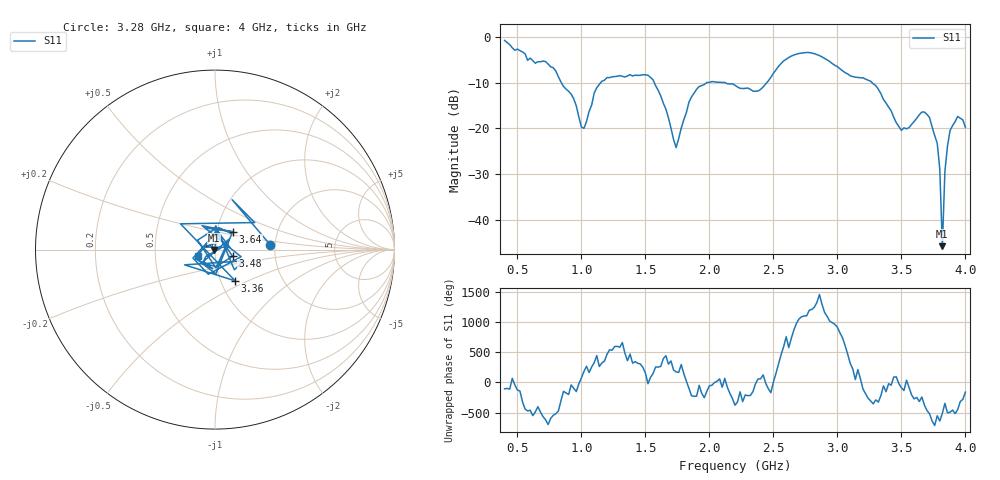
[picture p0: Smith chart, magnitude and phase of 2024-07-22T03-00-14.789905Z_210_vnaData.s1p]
!Created with skrf (http://scikit-rf.org).
# Hz S RI R 50.0
!freq ReS11 ImS11
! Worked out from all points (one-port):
!   181 points, 400 MHz to 4 GHz, reference 50 ohm
!   lowest |S11| = -45.7 dB at 3.82 GHz (marker M1), VSWR 1.01, Z = 49.6 - j0.252 ohm
!   |S11| at or under -10 dB: 1.57 GHz to 1.978 GHz (408.2 MHz wide, 23 % of centre); 2.123 GHz to 2.448 GHz (325.1 MHz wide, 14.2 % of centre); 3.271 GHz to end of sweep (the widest 3 of 4)
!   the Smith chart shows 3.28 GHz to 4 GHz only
!   S11 on the Smith chart (normalised r, x): 3.28 GHz: 1.88, +0.12; 3.36 GHz: 1.17, -0.43; 3.48 GHz: 1.21, -0.09; 3.64 GHz: 1.20, +0.24; 4 GHz: 0.82, -0.06
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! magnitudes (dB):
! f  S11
! 400 MHz  -0.8
! 720 MHz  -5.4
! 860 MHz  -10.8
! 1.02 GHz  -20.0
! 1.12 GHz  -11.1
! 1.3 GHz  -8.4
! 1.56 GHz  -9.4
! 1.74 GHz  -24.2
! 1.76 GHz  -22.2
! 1.84 GHz  -14.3
! 1.92 GHz  -10.8
! 2.2 GHz  -10.5
! 2.38 GHz  -11.8
! 2.66 GHz  -3.9
! 3.1 GHz  -8.5
! 3.28 GHz  -10.2
! 3.36 GHz  -13.7
! 3.48 GHz  -19.6
! 3.56 GHz  -19.8
! 3.64 GHz  -17.0
! 3.72 GHz  -17.6
! 3.78 GHz  -23.2
! 3.8 GHz  -28.9
! 3.82 GHz  -45.7
! 3.84 GHz  -29.4
! 3.88 GHz  -20.5
! 3.94 GHz  -17.4
! 4 GHz  -19.8
